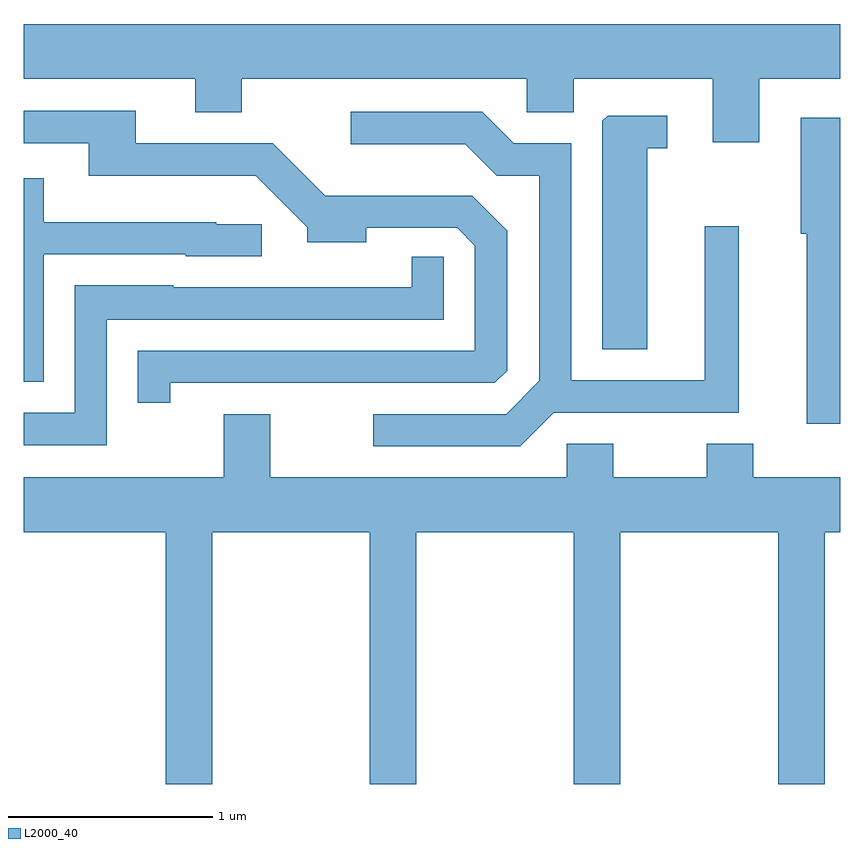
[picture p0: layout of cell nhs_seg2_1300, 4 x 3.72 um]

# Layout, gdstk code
import gdstk
lib = gdstk.Library(unit=1e-6, precision=1e-09)
def P(c, l, *ps):  # polygons
    for p in ps: c.add(gdstk.Polygon(p, *l))
L2000_40 = (2000, 40)

nhs_seg2_1300 = lib.new_cell('nhs_seg2_1300')
P(nhs_seg2_1300, L2000_40, [(227.214,997.256),(227.611,997.256),(227.611,997.524),(223.611,997.524),(223.611,997.256),(224.451,997.256),(224.451,997.091),(224.679,997.091),(224.679,997.256),(226.076,997.256),(226.076,997.091),(226.304,997.091),(226.304,997.256),(226.986,997.256),(226.986,996.946),(227.214,996.946)],
  [(224.329,995.766),(225.919,995.766),(225.979,995.827),(225.979,996.512),(225.807,996.684),(225.087,996.684),(224.832,996.939),(224.159,996.939),(224.159,997.099),(223.611,997.099),(223.611,996.941),(223.931,996.941),(223.931,996.781),(224.749,996.781),(225.001,996.529),(225.001,996.456),(225.289,996.456),(225.289,996.526),(225.734,996.526),(225.821,996.439),(225.821,995.924),(224.171,995.924),(224.171,995.668),(224.329,995.668)],
  [(226.207,995.621),(227.114,995.621),(227.114,996.533),(226.946,996.533),(226.946,995.779),(226.294,995.779),(226.294,996.939),(226.012,996.939),(225.857,997.094),(225.213,997.094),(225.213,996.936),(225.774,996.936),(225.929,996.781),(226.136,996.781),(226.136,995.777),(225.974,995.614),(225.323,995.614),(225.323,995.456),(226.042,995.456)],
  [(226.664,996.916),(226.763,996.916),(226.763,997.074),(226.472,997.074),(226.446,997.049),(226.446,995.931),(226.664,995.931)],
  [(227.611,997.064),(227.416,997.064),(227.416,996.496),(227.446,996.496),(227.446,995.566),(227.611,995.566)],
  [(223.709,996.396),(224.405,996.396),(224.405,996.386),(224.778,996.386),(224.778,996.544),(224.555,996.544),(224.555,996.554),(223.709,996.554),(223.709,996.769),(223.611,996.769),(223.611,995.771),(223.709,995.771)],
  [(224.019,996.076),(225.669,996.076),(225.669,996.383),(225.511,996.383),(225.511,996.234),(224.345,996.234),(224.345,996.244),(223.861,996.244),(223.861,995.619),(223.611,995.619),(223.611,995.461),(224.019,995.461)],
  [(224.534,995.036),(225.306,995.036),(225.306,993.802),(225.534,993.802),(225.534,995.036),(226.306,995.036),(226.306,993.802),(226.534,993.802),(226.534,995.036),(227.306,995.036),(227.306,993.802),(227.534,993.802),(227.534,995.036),(227.611,995.036),(227.611,995.304),(227.184,995.304),(227.184,995.469),(226.956,995.469),(226.956,995.304),(226.499,995.304),(226.499,995.469),(226.271,995.469),(226.271,995.304),(224.819,995.304),(224.819,995.614),(224.591,995.614),(224.591,995.304),(223.611,995.304),(223.611,995.036),(224.306,995.036),(224.306,993.802),(224.534,993.802)])

lib.write_gds('nhs_seg2_1300.gds')
